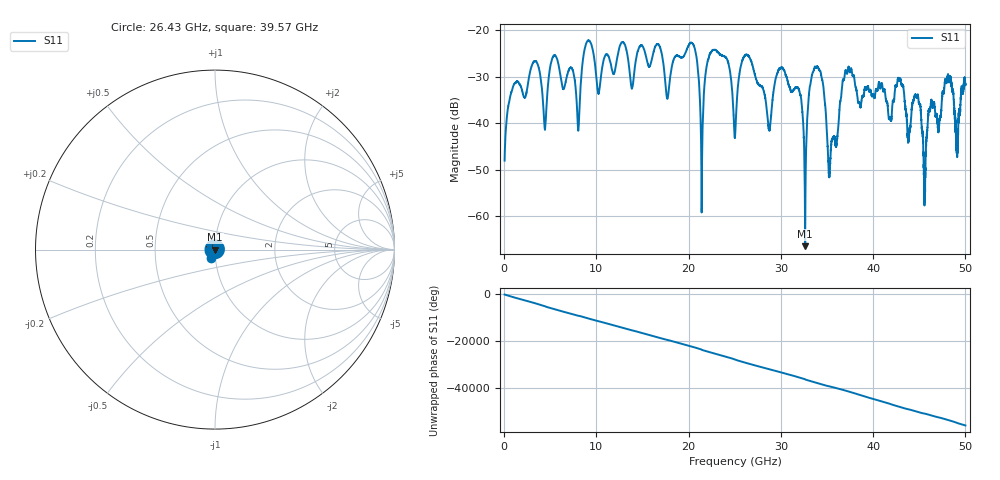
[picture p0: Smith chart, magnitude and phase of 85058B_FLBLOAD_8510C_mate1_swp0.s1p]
!Created with skrf (http://scikit-rf.org).
# Hz S RI R 50.0
!freq ReS11 ImS11
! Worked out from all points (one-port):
!   10001 points, 45 MHz to 50 GHz, reference 50 ohm
!   lowest |S11| = -66.4 dB at 32.63 GHz (marker M1), VSWR 1.00, Z = 50 - j0.0477 ohm
!   |S11| at or under -10 dB: start of sweep to end of sweep
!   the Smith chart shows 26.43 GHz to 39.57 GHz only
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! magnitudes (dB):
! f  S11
! 45 MHz  -48.0
! 3.212 GHz  -26.8
! 4.391 GHz  -41.0
! 5.305 GHz  -25.6
! 6.289 GHz  -32.1
! 12.53 GHz  -23.4
! 18.78 GHz  -25.4
! 20.58 GHz  -23.4
! 21.42 GHz  -56.2
! 22.22 GHz  -25.5
! 23.97 GHz  -25.8
! 25.02 GHz  -42.9
! 26.2 GHz  -25.3
! 28.71 GHz  -41.3
! 29.85 GHz  -28.1
! 31.27 GHz  -33.1
! 32.63 GHz  -66.4
! 33.59 GHz  -28.3
! 35.28 GHz  -50.6
! 37.51 GHz  -28.9
! 42.9 GHz  -30.5
! 43.76 GHz  -42.7
! 44.79 GHz  -34.1
! 45.61 GHz  -54.7
! 46.21 GHz  -36.7
! 48.24 GHz  -31.2
! 49.1 GHz  -44.5
! 50 GHz  -31.6
